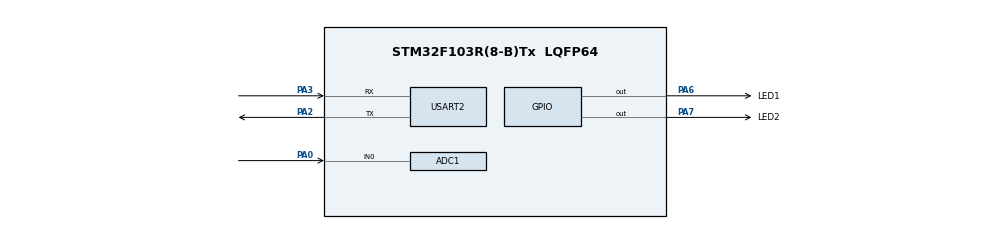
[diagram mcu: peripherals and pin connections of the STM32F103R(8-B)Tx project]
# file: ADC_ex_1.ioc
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ADC1.Channel-0\#ChannelRegularConversion=ADC_CHANNEL_0
ADC1.NbrOfConversionFlag=1
ADC1.Rank-0\#ChannelRegularConversion=1
ADC1.SamplingTime-0\#ChannelRegularConversion=ADC_SAMPLETIME_1CYCLE_5
ADC1.master=1
Mcu.Family=STM32F1
Mcu.Name=STM32F103R(8-B)Tx
Mcu.Package=LQFP64
NVIC.PriorityGroup=NVIC_PRIORITYGROUP_4
PA0-WKUP.Signal=ADCx_IN0
PA13.Mode=Serial_Wire
PA13.Signal=SYS_JTMS-SWDIO
PA14.Mode=Serial_Wire
PA14.Signal=SYS_JTCK-SWCLK
PA2.Mode=Asynchronous
PA2.Signal=USART2_TX
PA3.Mode=Asynchronous
PA3.Signal=USART2_RX
PA6.GPIO_Label=LED1
PA6.Signal=GPIO_Output
PA7.GPIO_Label=LED2
PA7.Signal=GPIO_Output
ProjectManager.HeapSize=0x200
ProjectManager.StackSize=0x400
ProjectManager.TargetToolchain=STM32CubeIDE
RCC.APB1Freq_Value=8000000
RCC.APB2Freq_Value=8000000
SH.ADCx_IN0.0=ADC1_IN0,IN0
USART2.VirtualMode=VM_ASYNC
board=custom

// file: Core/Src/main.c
/* USER CODE BEGIN Header */
/**
  ******************************************************************************
  * @file           : main.c
  * @brief          : Main program body
  ******************************************************************************
  * @attention
  *
  * Copyright (c) 2024 STMicroelectronics.
  * All rights reserved.
  *
  * This software is licensed under terms that can be found in the LICENSE file
  * in the root directory of this software component.
  * If no LICENSE file comes with this software, it is provided AS-IS.
  *
  ******************************************************************************
  */
/* USER CODE END Header */
#include "main.h"

/* USER CODE BEGIN Includes */
#include "stdio.h"
/* USER CODE END Includes */

ADC_HandleTypeDef hadc1;

UART_HandleTypeDef huart2;

void SystemClock_Config(void);
static void MX_GPIO_Init(void);
static void MX_ADC1_Init(void);
static void MX_USART2_UART_Init(void);

/* USER CODE BEGIN 0 */
int __io_putchar(int ch)
{
	if (ch == '\n')
		__io_putchar('\r');

	HAL_UART_Transmit(&huart2, (uint8_t*)&ch, 1, HAL_MAX_DELAY);
	return 1;
}

void blink_led(int adc_val)
{
	HAL_GPIO_WritePin(LED1_GPIO_Port, LED1_Pin, GPIO_PIN_SET);
	HAL_GPIO_WritePin(LED2_GPIO_Port, LED2_Pin, GPIO_PIN_SET);
	HAL_Delay(adc_val * 10 + 10);
	HAL_GPIO_WritePin(LED1_GPIO_Port, LED1_Pin, GPIO_PIN_RESET);
	HAL_GPIO_WritePin(LED2_GPIO_Port, LED2_Pin, GPIO_PIN_RESET);
}
/* USER CODE END 0 */

int main(void)
{

  /* MCU Configuration--------------------------------------------------------*/

  /* Reset of all peripherals, Initializes the Flash interface and the Systick. */
  HAL_Init();

  /* Configure the system clock */
  SystemClock_Config();

  /* Initialize all configured peripherals */
  MX_GPIO_Init();
  MX_ADC1_Init();
  MX_USART2_UART_Init();

  /* Infinite loop */
  /* USER CODE BEGIN WHILE */
  HAL_ADCEx_Calibration_Start(&hadc1);
  while (1)
  {
	  HAL_ADC_Start(&hadc1);
	  HAL_ADC_PollForConversion(&hadc1, HAL_MAX_DELAY);
	  uint32_t value = HAL_ADC_GetValue(&hadc1) / 500;

	  blink_led(value);
	  HAL_Delay(100);
    /* USER CODE END WHILE */

  }
}

void SystemClock_Config(void)
{
  RCC_OscInitTypeDef RCC_OscInitStruct = {0};
  RCC_ClkInitTypeDef RCC_ClkInitStruct = {0};
  RCC_PeriphCLKInitTypeDef PeriphClkInit = {0};

  /** Initializes the RCC Oscillators according to the specified parameters
  * in the RCC_OscInitTypeDef structure.
  */
  RCC_OscInitStruct.OscillatorType = RCC_OSCILLATORTYPE_HSI;
  RCC_OscInitStruct.HSIState = RCC_HSI_ON;
  RCC_OscInitStruct.HSICalibrationValue = RCC_HSICALIBRATION_DEFAULT;
  RCC_OscInitStruct.PLL.PLLState = RCC_PLL_NONE;
  if (HAL_RCC_OscConfig(&RCC_OscInitStruct) != HAL_OK)
  {
    Error_Handler();
  }

  /** Initializes the CPU, AHB and APB buses clocks
  */
  RCC_ClkInitStruct.ClockType = RCC_CLOCKTYPE_HCLK|RCC_CLOCKTYPE_SYSCLK
                              |RCC_CLOCKTYPE_PCLK1|RCC_CLOCKTYPE_PCLK2;
  RCC_ClkInitStruct.SYSCLKSource = RCC_SYSCLKSOURCE_HSI;
  RCC_ClkInitStruct.AHBCLKDivider = RCC_SYSCLK_DIV1;
  RCC_ClkInitStruct.APB1CLKDivider = RCC_HCLK_DIV1;
  RCC_ClkInitStruct.APB2CLKDivider = RCC_HCLK_DIV1;

  if (HAL_RCC_ClockConfig(&RCC_ClkInitStruct, FLASH_LATENCY_0) != HAL_OK)
  {
    Error_Handler();
  }
  PeriphClkInit.PeriphClockSelection = RCC_PERIPHCLK_ADC;
  PeriphClkInit.AdcClockSelection = RCC_ADCPCLK2_DIV2;
  if (HAL_RCCEx_PeriphCLKConfig(&PeriphClkInit) != HAL_OK)
  {
    Error_Handler();
  }
}

static void MX_ADC1_Init(void)
{

  ADC_ChannelConfTypeDef sConfig = {0};

  /** Common config
  */
  hadc1.Instance = ADC1;
  hadc1.Init.ScanConvMode = ADC_SCAN_DISABLE;
  hadc1.Init.ContinuousConvMode = DISABLE;
  hadc1.Init.DiscontinuousConvMode = DISABLE;
  hadc1.Init.ExternalTrigConv = ADC_SOFTWARE_START;
  hadc1.Init.DataAlign = ADC_DATAALIGN_RIGHT;
  hadc1.Init.NbrOfConversion = 1;
  if (HAL_ADC_Init(&hadc1) != HAL_OK)
  {
    Error_Handler();
  }

  /** Configure Regular Channel
  */
  sConfig.Channel = ADC_CHANNEL_0;
  sConfig.Rank = ADC_REGULAR_RANK_1;
  sConfig.SamplingTime = ADC_SAMPLETIME_1CYCLE_5;
  if (HAL_ADC_ConfigChannel(&hadc1, &sConfig) != HAL_OK)
  {
    Error_Handler();
  }

}

static void MX_USART2_UART_Init(void)
{

  huart2.Instance = USART2;
  huart2.Init.BaudRate = 115200;
  huart2.Init.WordLength = UART_WORDLENGTH_8B;
  huart2.Init.StopBits = UART_STOPBITS_1;
  huart2.Init.Parity = UART_PARITY_NONE;
  huart2.Init.Mode = UART_MODE_TX_RX;
  huart2.Init.HwFlowCtl = UART_HWCONTROL_NONE;
  huart2.Init.OverSampling = UART_OVERSAMPLING_16;
  if (HAL_UART_Init(&huart2) != HAL_OK)
  {
    Error_Handler();
  }

}

static void MX_GPIO_Init(void)
{
  GPIO_InitTypeDef GPIO_InitStruct = {0};

  /* GPIO Ports Clock Enable */
  __HAL_RCC_GPIOA_CLK_ENABLE();

  /*Configure GPIO pin Output Level */
  HAL_GPIO_WritePin(GPIOA, LED1_Pin|LED2_Pin, GPIO_PIN_RESET);

  /*Configure GPIO pins : LED1_Pin LED2_Pin */
  GPIO_InitStruct.Pin = LED1_Pin|LED2_Pin;
  GPIO_InitStruct.Mode = GPIO_MODE_OUTPUT_PP;
  GPIO_InitStruct.Pull = GPIO_NOPULL;
  GPIO_InitStruct.Speed = GPIO_SPEED_FREQ_LOW;
  HAL_GPIO_Init(GPIOA, &GPIO_InitStruct);

}

void Error_Handler(void)
{
  __disable_irq();
  while (1)
  {
  }
}
